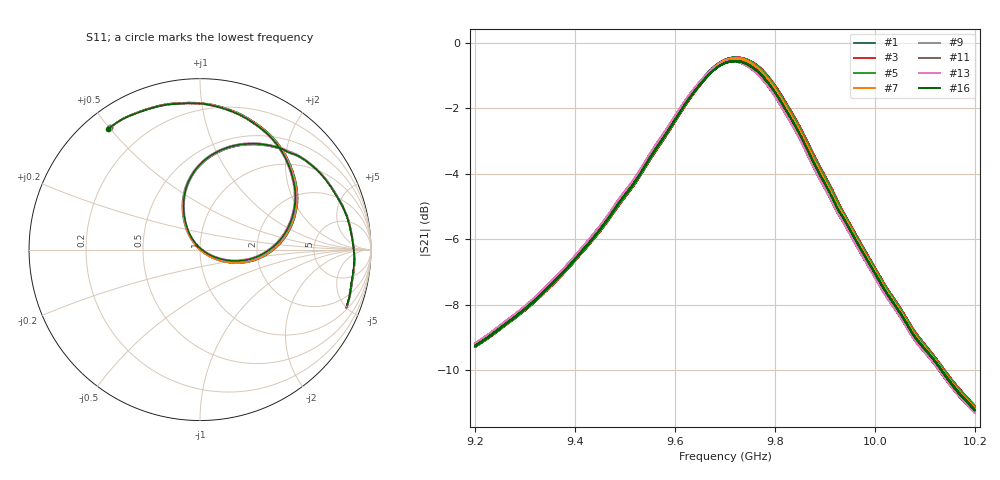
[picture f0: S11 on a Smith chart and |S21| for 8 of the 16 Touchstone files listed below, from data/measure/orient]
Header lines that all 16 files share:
!Agilent Technologies,N5242A,MY51221714,A.09.90.19
!Agilent N5242A: A.09.90.19
!Correction: S11(Full 2 Port(1,2))
!S21(Full 2 Port(1,2))
!S12(Full 2 Port(1,2))
!S22(Full 2 Port(1,2))
!S2P File: Measurements: S11, S21, S12, S22:
# Hz S  dB  R 50
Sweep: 9.2 GHz to 10.2 GHz
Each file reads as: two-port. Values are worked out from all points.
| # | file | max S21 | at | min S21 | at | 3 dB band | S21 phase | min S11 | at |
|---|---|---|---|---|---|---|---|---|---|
| 1 | d0_1.s2p | -0.45 dB | 9.722 GHz | -11.2 dB | 10.2 GHz | 9.55 GHz-9.873 GHz | -107 deg at 9.7 GHz | -58.3 dB | 9.724 GHz |
| 2 | d0_2.s2p | -0.44 dB | 9.723 GHz | -11.2 dB | 10.2 GHz | 9.552 GHz-9.874 GHz | -106 deg at 9.7 GHz | -69.2 dB | 9.725 GHz |
| 3 | d1_1.s2p | -0.46 dB | 9.726 GHz | -11.1 dB | 10.2 GHz | 9.556 GHz-9.879 GHz | -105 deg at 9.7 GHz | -61.4 dB | 9.729 GHz |
| 4 | d1_2.s2p | -0.47 dB | 9.728 GHz | -11.1 dB | 10.2 GHz | 9.556 GHz-9.879 GHz | -105 deg at 9.7 GHz | -77.7 dB | 9.729 GHz |
| 5 | d2_1.s2p | -0.47 dB | 9.726 GHz | -11.1 dB | 10.2 GHz | 9.554 GHz-9.877 GHz | -105 deg at 9.7 GHz | -67.2 dB | 9.727 GHz |
| 6 | d2_2.s2p | -0.46 dB | 9.723 GHz | -11.2 dB | 10.2 GHz | 9.552 GHz-9.875 GHz | -106 deg at 9.7 GHz | -52.3 dB | 9.726 GHz |
| 7 | d3_1.s2p | -0.47 dB | 9.722 GHz | -11.2 dB | 10.2 GHz | 9.55 GHz-9.874 GHz | -106 deg at 9.7 GHz | -61.7 dB | 9.724 GHz |
| 8 | d3_2.s2p | -0.47 dB | 9.731 GHz | -11.1 dB | 10.2 GHz | 9.556 GHz-9.879 GHz | -104 deg at 9.7 GHz | -54.3 dB | 9.73 GHz |
| 9 | d4_1.s2p | -0.56 dB | 9.717 GHz | -11.3 dB | 10.2 GHz | 9.547 GHz-9.873 GHz | -107 deg at 9.7 GHz | -41.5 dB | 9.722 GHz |
| 10 | d4_2.s2p | -1.11 dB | 9.699 GHz | -11.7 dB | 10.2 GHz | 9.514 GHz-9.86 GHz | -115 deg at 9.7 GHz | -25.5 dB | 9.699 GHz |
| 11 | d5_1.s2p | -0.56 dB | 9.712 GHz | -11.3 dB | 10.2 GHz | 9.543 GHz-9.869 GHz | -108 deg at 9.7 GHz | -41.8 dB | 9.719 GHz |
| 12 | d5_2.s2p | -0.79 dB | 9.698 GHz | -11.6 dB | 10.2 GHz | 9.524 GHz-9.858 GHz | -114 deg at 9.7 GHz | -31.3 dB | 9.703 GHz |
| 13 | d6_1.s2p | -0.55 dB | 9.716 GHz | -11.3 dB | 10.2 GHz | 9.543 GHz-9.869 GHz | -108 deg at 9.7 GHz | -41.8 dB | 9.719 GHz |
| 14 | d6_2.s2p | -0.53 dB | 9.722 GHz | -11.2 dB | 10.2 GHz | 9.55 GHz-9.874 GHz | -107 deg at 9.7 GHz | -48.0 dB | 9.724 GHz |
| 15 | d7_1.s2p | -0.56 dB | 9.716 GHz | -11.3 dB | 10.2 GHz | 9.543 GHz-9.869 GHz | -108 deg at 9.7 GHz | -42.9 dB | 9.718 GHz |
| 16 | d7_2.s2p | -0.56 dB | 9.722 GHz | -11.2 dB | 10.2 GHz | 9.548 GHz-9.874 GHz | -107 deg at 9.7 GHz | -44.4 dB | 9.724 GHz |
